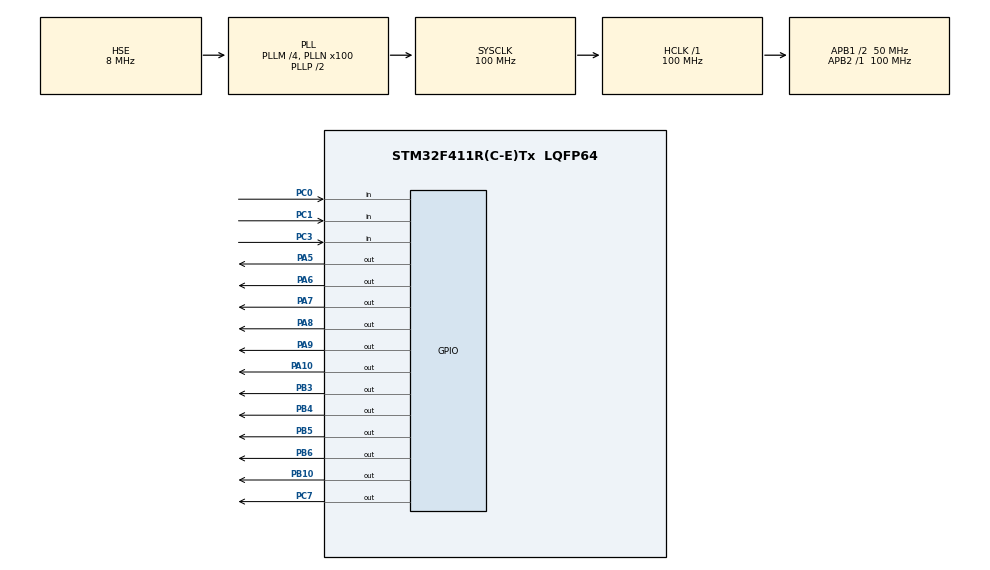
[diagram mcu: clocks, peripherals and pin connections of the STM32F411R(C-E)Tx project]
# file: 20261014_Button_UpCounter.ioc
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Mcu.Family=STM32F4
Mcu.Name=STM32F411R(C-E)Tx
Mcu.Package=LQFP64
NVIC.PriorityGroup=NVIC_PRIORITYGROUP_4
PA10.Signal=GPIO_Output
PA5.Signal=GPIO_Output
PA6.Signal=GPIO_Output
PA7.Signal=GPIO_Output
PA8.Signal=GPIO_Output
PA9.Signal=GPIO_Output
PB10.Signal=GPIO_Output
PB3.Signal=GPIO_Output
PB4.Signal=GPIO_Output
PB5.Signal=GPIO_Output
PB6.Signal=GPIO_Output
PC0.Signal=GPIO_Input
PC1.Signal=GPIO_Input
PC3.Signal=GPIO_Input
PC7.Signal=GPIO_Output
PH0\ -\ OSC_IN.Mode=HSE-External-Oscillator
PH0\ -\ OSC_IN.Signal=RCC_OSC_IN
PH1\ -\ OSC_OUT.Mode=HSE-External-Oscillator
PH1\ -\ OSC_OUT.Signal=RCC_OSC_OUT
ProjectManager.HeapSize=0x200
ProjectManager.StackSize=0x400
ProjectManager.TargetToolchain=STM32CubeIDE
RCC.48MHZClocksFreq_Value=50000000
RCC.AHBFreq_Value=100000000
RCC.APB1CLKDivider=RCC_HCLK_DIV2
RCC.APB1Freq_Value=50000000
RCC.APB1TimFreq_Value=100000000
RCC.APB2Freq_Value=100000000
RCC.APB2TimFreq_Value=100000000
RCC.CortexFreq_Value=100000000
RCC.HCLKFreq_Value=100000000
RCC.HSE_VALUE=8000000
RCC.HSI_VALUE=16000000
RCC.LSE_VALUE=32768
RCC.PLLM=4
RCC.PLLN=100
RCC.PLLSourceVirtual=RCC_PLLSOURCE_HSE
RCC.SYSCLKFreq_VALUE=100000000
RCC.SYSCLKSource=RCC_SYSCLKSOURCE_PLLCLK
RCC.VCOOutputFreq_Value=200000000
board=custom

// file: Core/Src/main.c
/* USER CODE BEGIN Header */
/**
 ******************************************************************************
 * @file           : main.c
 * @brief          : Main program body
 ******************************************************************************
 * @attention
 *
 * Copyright (c) 2026 STMicroelectronics.
 * All rights reserved.
 *
 * This software is licensed under terms that can be found in the LICENSE file
 * in the root directory of this software component.
 * If no LICENSE file comes with this software, it is provided AS-IS.
 *
 ******************************************************************************
 */
/* USER CODE END Header */
#include "main.h"

/* USER CODE BEGIN Includes */
#include "driver/fnd/fnd.h"
/* USER CODE END Includes */

/* USER CODE BEGIN PD */
#define STOP 	0
#define RUN		1
#define CLEAR	2

/* USER CODE END PD */

void SystemClock_Config(void);
static void MX_GPIO_Init(void);

int main(void)
{

	/* MCU Configuration--------------------------------------------------------*/

	/* Reset of all peripherals, Initializes the Flash interface and the Systick. */
	HAL_Init();

	/* Configure the system clock */
	SystemClock_Config();

	/* Initialize all configured peripherals */
	MX_GPIO_Init();

	/* Infinite loop */
	/* USER CODE BEGIN WHILE */

	uint16_t counter = 0;
	uint16_t prevTime = 0;
	int state = 0;

	while (1)
	{
		switch(state)
		{
		case STOP :
			fnd_show_number(counter);
			if (HAL_GPIO_ReadPin(GPIOC, GPIO_PIN_0) == 0) {
				state = RUN;
			}
			if (HAL_GPIO_ReadPin(GPIOC, GPIO_PIN_1) == 0) {
				state = CLEAR;
			}
			break;
		case RUN :
			fnd_show_number(counter);
			if(HAL_GetTick() - prevTime > 100) {
				prevTime = HAL_GetTick();

				if (counter == 9999){
					counter = 0;
				}
				else
				{
					counter ++;
				}
			}
			if (HAL_GPIO_ReadPin(GPIOC, GPIO_PIN_0) == 0)
				state = STOP;
			break;
		case CLEAR :
			counter = 0;
			fnd_show_number(counter);
			state = STOP;
			break;
		}

		/* USER CODE END WHILE */

	}
}

void SystemClock_Config(void)
{
	RCC_OscInitTypeDef RCC_OscInitStruct = {0};
	RCC_ClkInitTypeDef RCC_ClkInitStruct = {0};

	/** Configure the main internal regulator output voltage
	 */
	__HAL_RCC_PWR_CLK_ENABLE();
	__HAL_PWR_VOLTAGESCALING_CONFIG(PWR_REGULATOR_VOLTAGE_SCALE1);

	/** Initializes the RCC Oscillators according to the specified parameters
	 * in the RCC_OscInitTypeDef structure.
	 */
	RCC_OscInitStruct.OscillatorType = RCC_OSCILLATORTYPE_HSE;
	RCC_OscInitStruct.HSEState = RCC_HSE_ON;
	RCC_OscInitStruct.PLL.PLLState = RCC_PLL_ON;
	RCC_OscInitStruct.PLL.PLLSource = RCC_PLLSOURCE_HSE;
	RCC_OscInitStruct.PLL.PLLM = 4;
	RCC_OscInitStruct.PLL.PLLN = 100;
	RCC_OscInitStruct.PLL.PLLP = RCC_PLLP_DIV2;
	RCC_OscInitStruct.PLL.PLLQ = 4;
	if (HAL_RCC_OscConfig(&RCC_OscInitStruct) != HAL_OK)
	{
		Error_Handler();
	}

	/** Initializes the CPU, AHB and APB buses clocks
	 */
	RCC_ClkInitStruct.ClockType = RCC_CLOCKTYPE_HCLK|RCC_CLOCKTYPE_SYSCLK
			|RCC_CLOCKTYPE_PCLK1|RCC_CLOCKTYPE_PCLK2;
	RCC_ClkInitStruct.SYSCLKSource = RCC_SYSCLKSOURCE_PLLCLK;
	RCC_ClkInitStruct.AHBCLKDivider = RCC_SYSCLK_DIV1;
	RCC_ClkInitStruct.APB1CLKDivider = RCC_HCLK_DIV2;
	RCC_ClkInitStruct.APB2CLKDivider = RCC_HCLK_DIV1;

	if (HAL_RCC_ClockConfig(&RCC_ClkInitStruct, FLASH_LATENCY_3) != HAL_OK)
	{
		Error_Handler();
	}
}

static void MX_GPIO_Init(void)
{
	GPIO_InitTypeDef GPIO_InitStruct = {0};

	/* GPIO Ports Clock Enable */
	__HAL_RCC_GPIOH_CLK_ENABLE();
	__HAL_RCC_GPIOC_CLK_ENABLE();
	__HAL_RCC_GPIOA_CLK_ENABLE();
	__HAL_RCC_GPIOB_CLK_ENABLE();

	/*Configure GPIO pin Output Level */
	HAL_GPIO_WritePin(GPIOA, GPIO_PIN_5|GPIO_PIN_6|GPIO_PIN_7|GPIO_PIN_8
			|GPIO_PIN_9|GPIO_PIN_10, GPIO_PIN_RESET);

	/*Configure GPIO pin Output Level */
	HAL_GPIO_WritePin(GPIOB, GPIO_PIN_10|GPIO_PIN_3|GPIO_PIN_4|GPIO_PIN_5
			|GPIO_PIN_6, GPIO_PIN_RESET);

	/*Configure GPIO pin Output Level */
	HAL_GPIO_WritePin(GPIOC, GPIO_PIN_7, GPIO_PIN_RESET);

	/*Configure GPIO pins : PC0 PC1 PC3 */
	GPIO_InitStruct.Pin = GPIO_PIN_0|GPIO_PIN_1|GPIO_PIN_3;
	GPIO_InitStruct.Mode = GPIO_MODE_INPUT;
	GPIO_InitStruct.Pull = GPIO_NOPULL;
	HAL_GPIO_Init(GPIOC, &GPIO_InitStruct);

	/*Configure GPIO pins : PA5 PA6 PA7 PA8
                           PA9 PA10 */
	GPIO_InitStruct.Pin = GPIO_PIN_5|GPIO_PIN_6|GPIO_PIN_7|GPIO_PIN_8
			|GPIO_PIN_9|GPIO_PIN_10;
	GPIO_InitStruct.Mode = GPIO_MODE_OUTPUT_PP;
	GPIO_InitStruct.Pull = GPIO_NOPULL;
	GPIO_InitStruct.Speed = GPIO_SPEED_FREQ_LOW;
	HAL_GPIO_Init(GPIOA, &GPIO_InitStruct);

	/*Configure GPIO pins : PB10 PB3 PB4 PB5
                           PB6 */
	GPIO_InitStruct.Pin = GPIO_PIN_10|GPIO_PIN_3|GPIO_PIN_4|GPIO_PIN_5
			|GPIO_PIN_6;
	GPIO_InitStruct.Mode = GPIO_MODE_OUTPUT_PP;
	GPIO_InitStruct.Pull = GPIO_NOPULL;
	GPIO_InitStruct.Speed = GPIO_SPEED_FREQ_LOW;
	HAL_GPIO_Init(GPIOB, &GPIO_InitStruct);

	/*Configure GPIO pin : PC7 */
	GPIO_InitStruct.Pin = GPIO_PIN_7;
	GPIO_InitStruct.Mode = GPIO_MODE_OUTPUT_PP;
	GPIO_InitStruct.Pull = GPIO_NOPULL;
	GPIO_InitStruct.Speed = GPIO_SPEED_FREQ_LOW;
	HAL_GPIO_Init(GPIOC, &GPIO_InitStruct);

}

void Error_Handler(void)
{
	__disable_irq();
	while (1)
	{
	}
}
